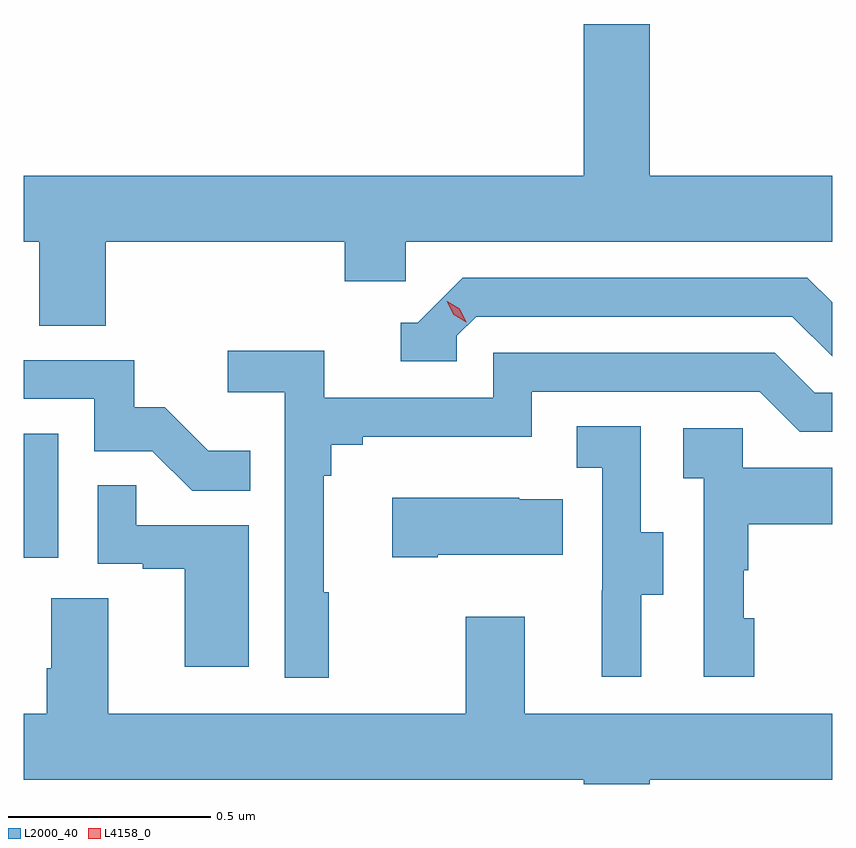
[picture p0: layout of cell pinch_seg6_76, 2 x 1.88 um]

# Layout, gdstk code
import gdstk
lib = gdstk.Library(unit=1e-6, precision=1e-09)
def R(c, l, rs):  # rectangles x0, y0, x1, y1
    for r in rs: c.add(gdstk.rectangle(r[:2], r[2:], *l))
def P(c, l, *ps):  # polygons
    for p in ps: c.add(gdstk.Polygon(p, *l))
L2000_40 = (2000, 40)
L4158_0 = (4158, 0)

pinch_seg6_76 = lib.new_cell('pinch_seg6_76')
R(pinch_seg6_76, L2000_40, [(930.855,926.574,930.94,926.881)])
P(pinch_seg6_76, L2000_40, [(931.058,927.356),(931.649,927.356),(931.649,927.258),(931.8,927.258),(931.8,927.356),(932.855,927.356),(932.855,927.52),(932.404,927.52),(932.404,927.895),(932.24,927.895),(932.24,927.52),(930.855,927.52),(930.855,927.356),(930.893,927.356),(930.893,927.148),(931.058,927.148)],
  [(931.926,927.123),(931.974,927.171),(932.757,927.171),(932.855,927.073),(932.855,927.206),(932.794,927.267),(931.941,927.267),(931.83,927.156),(931.787,927.156),(931.787,927.06),(931.926,927.06)],
  [(931.609,926.489),(931.597,926.489),(931.597,926.777),(931.616,926.777),(931.616,926.854),(931.693,926.854),(931.693,926.873),(932.112,926.873),(932.112,926.985),(932.676,926.985),(932.775,926.886),(932.855,926.886),(932.855,926.982),(932.812,926.982),(932.713,927.081),(932.016,927.081),(932.016,926.97),(931.598,926.97),(931.598,927.086),(931.359,927.086),(931.359,926.984),(931.5,926.984),(931.5,926.277),(931.609,926.277)],
  [(931.415,926.839),(931.311,926.839),(931.204,926.946),(931.128,926.946),(931.128,927.063),(930.855,927.063),(930.855,926.967),(931.029,926.967),(931.029,926.838),(931.173,926.838),(931.271,926.74),(931.415,926.74)],
  [(932.383,926.482),(932.437,926.482),(932.437,926.637),(932.382,926.637),(932.382,926.9),(932.223,926.9),(932.223,926.797),(932.286,926.797),(932.286,926.493),(932.285,926.493),(932.285,926.28),(932.383,926.28)],
  [(932.662,926.424),(932.637,926.424),(932.637,926.543),(932.647,926.543),(932.647,926.657),(932.855,926.657),(932.855,926.797),(932.634,926.797),(932.634,926.895),(932.487,926.895),(932.487,926.771),(932.538,926.771),(932.538,926.28),(932.662,926.28)],
  [(931.411,926.655),(931.133,926.655),(931.133,926.753),(931.038,926.753),(931.038,926.559),(931.149,926.559),(931.149,926.547),(931.253,926.547),(931.253,926.304),(931.411,926.304)],
  [(931.879,926.582),(932.189,926.582),(932.189,926.719),(932.081,926.719),(932.081,926.722),(931.767,926.722),(931.767,926.575),(931.879,926.575)],
  [(932.404,926.024),(932.855,926.024),(932.855,926.188),(932.095,926.188),(932.095,926.428),(931.948,926.428),(931.948,926.188),(931.063,926.188),(931.063,926.474),(930.923,926.474),(930.923,926.3),(930.911,926.3),(930.911,926.188),(930.855,926.188),(930.855,926.024),(932.24,926.024),(932.24,926.014),(932.404,926.014)])
P(pinch_seg6_76, L4158_0, [(931.95,927.157),(931.919,927.176),(931.902,927.209),(931.902,927.209),(931.903,927.209),(931.934,927.19),(931.95,927.157),(931.95,927.157)])

lib.write_gds('pinch_seg6_76.gds')
